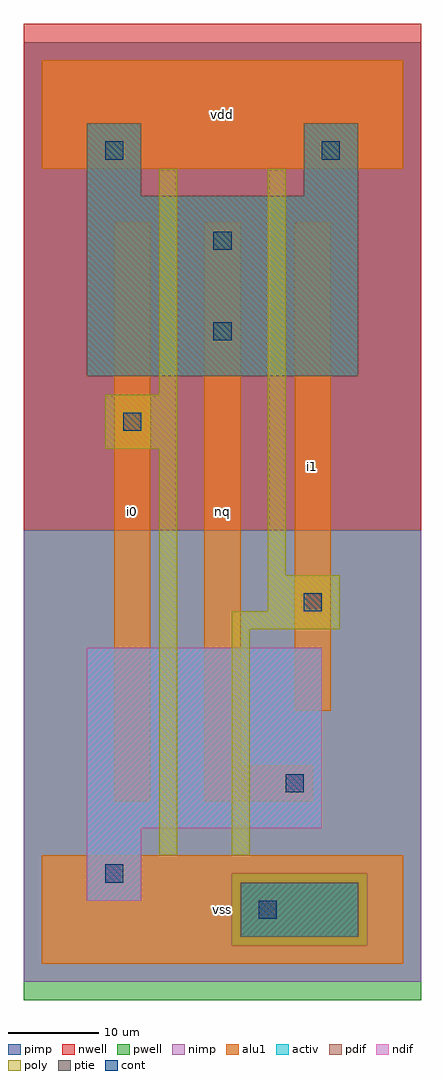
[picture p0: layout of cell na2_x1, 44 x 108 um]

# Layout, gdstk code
import gdstk
lib = gdstk.Library(unit=1e-6, precision=1e-09)
def R(c, l, rs):  # rectangles x0, y0, x1, y1
    for r in rs: c.add(gdstk.rectangle(r[:2], r[2:], *l))
ndif = (3, 0)
pdif = (4, 0)
ptie = (6, 0)
cont = (25, 0)
pwell = (41, 0)
nwell = (42, 0)
activ = (43, 0)
pimp = (44, 0)
nimp = (45, 0)
poly = (46, 0)
alu1 = (49, 0)

na2_x1 = lib.new_cell('na2_x1')
R(na2_x1, ndif, [(5,7,11,15), (5,15,31,35)])
R(na2_x1, pdif, [(5,65,35,85), (5,85,11,93), (29,85,35,93)])
R(na2_x1, ptie, [(22,3,35,9)])
R(na2_x1, cont, [(24,5,26,7), (7,9,9,11), (27,19,29,21), (29,39,31,41), (9,59,11,61), (19,69,21,71), (19,79,21,81), (7,89,9,91), (31,89,33,91)])
R(na2_x1, pwell, [(-2,-4,42,48)])
R(na2_x1, nwell, [(-2,48,42,104)])
R(na2_x1, activ, [(22,3,35,9), (5,7,11,15), (5,15,31,35), (5,65,35,85), (5,85,11,93), (29,85,35,93)])
R(na2_x1, pimp, [(21,2,36,10), (-2,48,42,102)])
R(na2_x1, nimp, [(-2,-2,42,2), (-2,2,21,10), (36,2,42,10), (-2,10,42,48)])
R(na2_x1, poly, [(13,12,15,57), (21,12,23,37), (21,37,33,39), (25,39,33,43), (25,43,27,88), (7,57,15,63), (13,63,15,88)])
R(na2_x1, alu1, [(0,0,40,12), (8,18,12,82), (18,18,30,22), (18,22,22,82), (28,28,32,82), (0,88,40,100)])
na2_x1.add(gdstk.Label('i0', (10,50), layer=49, texttype=0))
na2_x1.add(gdstk.Label('vss', (20,6), layer=49, texttype=0))
na2_x1.add(gdstk.Label('nq', (20,50), layer=49, texttype=0))
na2_x1.add(gdstk.Label('vdd', (20,94), layer=49, texttype=0))
na2_x1.add(gdstk.Label('i1', (30,55), layer=49, texttype=0))

lib.write_gds('na2_x1.gds')
